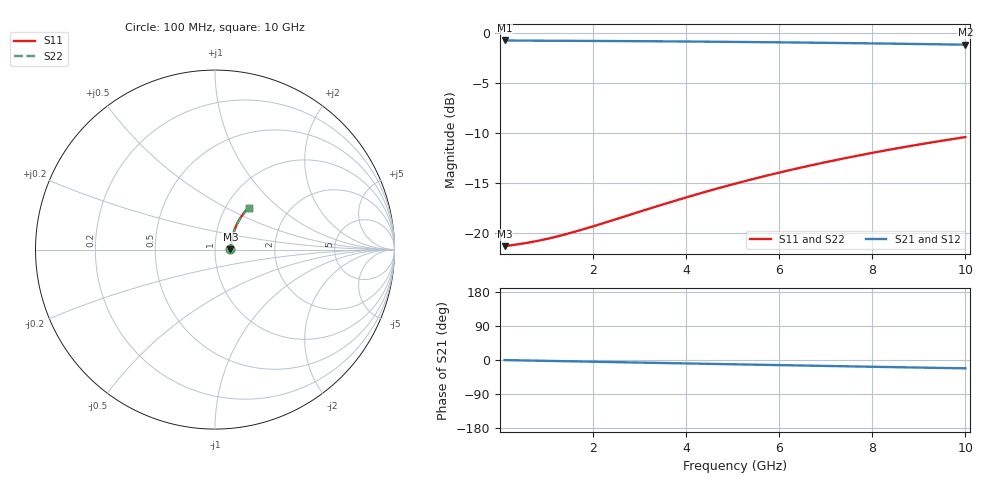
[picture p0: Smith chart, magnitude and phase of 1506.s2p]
# Hz S RI R 50.00
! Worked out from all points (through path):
!   100 points, 100 MHz to 10 GHz, reference 50 ohm
!   highest |S21| = -0.78 dB at 100 MHz (marker M1); lowest = -1.2 dB at 10 GHz (marker M2)
!   group delay of S21, straight-line fit = 6.14 ps
!   lowest |S11| = -21.3 dB at 100 MHz (marker M3), VSWR 1.19, Z = 59.4 + j0.325 ohm
!   |S11| at or under -10 dB: start of sweep to end of sweep
!   |S22| runs from -21.3 to -10.4 dB; largest |S21 - S12| = 0
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1e8  0.0856 0.00272  0.9144 -0.00364  0.9144 -0.00364  0.0856 0.00272
5e8  0.0873 0.0135  0.9127 -0.0181  0.9127 -0.0181  0.0873 0.0135
7e8  0.088 0.0189  0.912 -0.0254  0.912 -0.0254  0.088 0.0189
9e8  0.0887 0.0243  0.9113 -0.0326  0.9113 -0.0326  0.0887 0.0243
1.1e9  0.0894 0.0296  0.9106 -0.0398  0.9106 -0.0398  0.0894 0.0296
1.3e9  0.0902 0.035  0.9098 -0.047  0.9098 -0.047  0.0902 0.035
1.5e9  0.091 0.0403  0.9089 -0.0542  0.9089 -0.0542  0.091 0.0403
1.8e9  0.0923 0.0483  0.9075 -0.0649  0.9075 -0.0649  0.0923 0.0483
2.2e9  0.0944 0.0588  0.9054 -0.0792  0.9054 -0.0792  0.0944 0.0588
3.4e9  0.1022 0.0899  0.8972 -0.1213  0.8972 -0.1213  0.1022 0.0899
3.9e9  0.1063 0.1026  0.893 -0.1386  0.893 -0.1386  0.1063 0.1026
4.3e9  0.1099 0.1125  0.8893 -0.1523  0.8893 -0.1523  0.1099 0.1125
4.7e9  0.1137 0.1224  0.8853 -0.1658  0.8853 -0.1658  0.1137 0.1224
5.1e9  0.1179 0.132  0.8809 -0.1792  0.8809 -0.1792  0.1179 0.132
5.5e9  0.1223 0.1415  0.8763 -0.1924  0.8763 -0.1924  0.1223 0.1415
5.9e9  0.127 0.1508  0.8714 -0.2054  0.8714 -0.2054  0.127 0.1508
6.7e9  0.1371 0.1689  0.8609 -0.2309  0.8609 -0.2309  0.1371 0.1689
7.5e9  0.1482 0.1862  0.8492 -0.2556  0.8492 -0.2556  0.1482 0.1862
7.9e9  0.1541 0.1945  0.843 -0.2677  0.843 -0.2677  0.1541 0.1945
8.4e9  0.1618 0.2046  0.835 -0.2824  0.835 -0.2824  0.1618 0.2046
9.2e9  0.1747 0.2199  0.8214 -0.3052  0.8214 -0.3052  0.1747 0.2199
1e10  0.1884 0.2343  0.8071 -0.3271  0.8071 -0.3271  0.1884 0.2343
